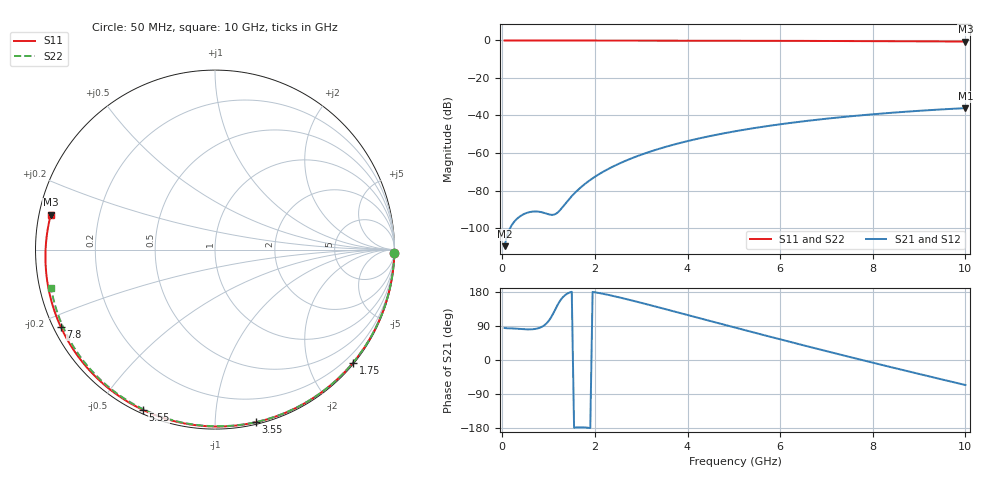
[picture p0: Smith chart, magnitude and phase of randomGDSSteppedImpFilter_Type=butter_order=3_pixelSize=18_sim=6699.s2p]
! freq	dB(S11)	phase(S11)	dB(S12)	phase(S12)
!  dB(S21)	phase(S21)	dB(S22)	phase(S22)
!S-par simulation data
#  GHz  S  DB  R 50
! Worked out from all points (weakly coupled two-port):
!   200 points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, 50 MHz to 10 GHz, reference 50 ohm
!   highest |S21| = -36.08 dB at 10 GHz (marker M1); lowest = -109.7 dB at 50 MHz (marker M2)
!   lowest |S11| = -0.6 dB at 10 GHz (marker M3), VSWR 29.93, Z = 1.69 + j5.25 ohm
!   |S11| at or under -10 dB: nowhere
!   |S22| runs from -0.6 to 0.0 dB; largest |S21 - S12| = 0
!   S11 on the Smith chart (normalised r, x): 50 MHz: open; 1.75 GHz: 0.03, -2.80; 3.55 GHz: 0.02, -1.26; 5.55 GHz: 0.01, -0.65; 7.8 GHz: 0.02, -0.24; 10 GHz: 0.03, +0.11
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0.05  -0.00 -1.1  -109.66 84.4  -109.66 84.4  -0.00 -0.9
0.45  -0.02 -10.3  -92.76 81.2  -92.76 81.2  -0.01 -8.6
0.8  -0.02 -18.2  -91.33 84.7  -91.33 84.7  -0.02 -15.4
1.2  -0.03 -27.2  -91.64 146.7  -91.64 146.7  -0.03 -23.0
1.6  -0.05 -36.0  -80.46 -177.9  -80.46 -177.9  -0.04 -30.5
1.65  -0.05 -37.1  -79.30 -177.5  -79.30 -177.5  -0.04 -31.4
1.75  -0.05 -39.3  -77.17 -177.7  -77.17 -177.7  -0.04 -33.3
2.05  -0.06 -45.8  -71.88 177.6  -71.88 177.6  -0.05 -38.8
2.45  -0.07 -54.3  -66.50 167.4  -66.50 167.4  -0.06 -46.1
2.9  -0.08 -63.7  -61.81 154.0  -61.81 154.0  -0.07 -54.2
3.4  -0.10 -73.8  -57.65 138.2  -57.65 138.2  -0.08 -63.0
3.55  -0.10 -76.8  -56.57 133.4  -56.57 133.4  -0.09 -65.6
4.3  -0.13 -91.3  -51.94 109.1  -51.94 109.1  -0.11 -78.3
5.05  -0.16 -105.3  -48.31 84.8  -48.31 84.8  -0.14 -90.7
5.55  -0.18 -114.3  -46.29 68.8  -46.29 68.8  -0.16 -98.7
6.1  -0.22 -124.0  -44.35 51.4  -44.35 51.4  -0.19 -107.3
6.7  -0.25 -134.4  -42.53 32.6  -42.53 32.6  -0.23 -116.5
7.25  -0.30 -143.9  -41.07 15.7  -41.07 15.7  -0.27 -124.9
7.8  -0.34 -153.3  -39.78 -1.1  -39.78 -1.1  -0.31 -133.2
8.35  -0.40 -162.7  -38.66 -17.6  -38.66 -17.6  -0.36 -141.5
9.2  -0.49 -177.5  -37.18 -42.7  -37.18 -42.7  -0.45 -154.4
10  -0.58 168.0  -36.08 -66.0  -36.08 -66.0  -0.55 -166.8
